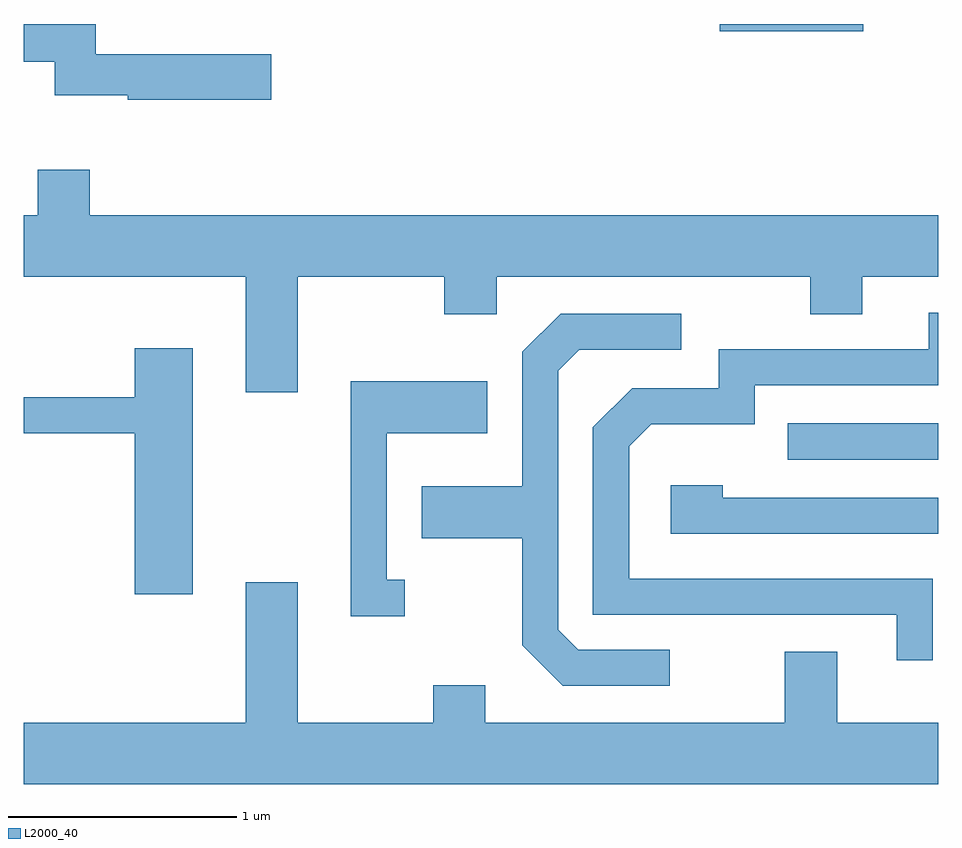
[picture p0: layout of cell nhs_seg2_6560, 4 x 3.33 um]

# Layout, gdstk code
import gdstk
lib = gdstk.Library(unit=1e-6, precision=1e-09)
def R(c, l, rs):  # rectangles x0, y0, x1, y1
    for r in rs: c.add(gdstk.rectangle(r[:2], r[2:], *l))
def P(c, l, *ps):  # polygons
    for p in ps: c.add(gdstk.Polygon(p, *l))
L2000_40 = (2000, 40)

nhs_seg2_6560 = lib.new_cell('nhs_seg2_6560')
R(nhs_seg2_6560, L2000_40, [(380.953,1111.896,381.611,1112.054), (380.656,1113.771,381.284,1113.802)])
P(nhs_seg2_6560, L2000_40, [(378.694,1113.669),(377.924,1113.669),(377.924,1113.802),(377.611,1113.802),(377.611,1113.636),(377.746,1113.636),(377.746,1113.491),(378.066,1113.491),(378.066,1113.471),(378.694,1113.471)],
  [(378.809,1112.696),(379.451,1112.696),(379.451,1112.531),(379.679,1112.531),(379.679,1112.696),(381.051,1112.696),(381.051,1112.531),(381.279,1112.531),(381.279,1112.696),(381.611,1112.696),(381.611,1112.964),(377.899,1112.964),(377.899,1113.164),(377.671,1113.164),(377.671,1112.964),(377.611,1112.964),(377.611,1112.696),(378.581,1112.696),(378.581,1112.191),(378.809,1112.191)],
  [(381.589,1111.374),(380.259,1111.374),(380.259,1111.954),(380.357,1112.051),(380.809,1112.051),(380.809,1112.221),(381.611,1112.221),(381.611,1112.539),(381.571,1112.539),(381.571,1112.379),(380.651,1112.379),(380.651,1112.209),(380.274,1112.209),(380.101,1112.037),(380.101,1111.216),(381.431,1111.216),(381.431,1111.018),(381.589,1111.018)],
  [(380.438,1111.064),(380.037,1111.064),(379.949,1111.152),(379.949,1112.284),(380.042,1112.376),(380.488,1112.376),(380.488,1112.534),(379.959,1112.534),(379.791,1112.367),(379.791,1111.779),(379.351,1111.779),(379.351,1111.551),(379.791,1111.551),(379.791,1111.084),(379.969,1110.906),(380.438,1110.906)],
  [(378.349,1112.384),(378.096,1112.384),(378.096,1112.169),(377.611,1112.169),(377.611,1112.011),(378.096,1112.011),(378.096,1111.306),(378.349,1111.306)],
  [(379.278,1111.369),(379.199,1111.369),(379.199,1112.011),(379.639,1112.011),(379.639,1112.239),(379.041,1112.239),(379.041,1111.211),(379.278,1111.211)],
  [(381.611,1111.729),(380.669,1111.729),(380.669,1111.784),(380.441,1111.784),(380.441,1111.571),(381.611,1111.571)],
  [(381.611,1110.744),(381.169,1110.744),(381.169,1111.054),(380.941,1111.054),(380.941,1110.744),(379.629,1110.744),(379.629,1110.909),(379.401,1110.909),(379.401,1110.744),(378.809,1110.744),(378.809,1111.359),(378.581,1111.359),(378.581,1110.744),(377.611,1110.744),(377.611,1110.476),(381.611,1110.476)])

lib.write_gds('nhs_seg2_6560.gds')
